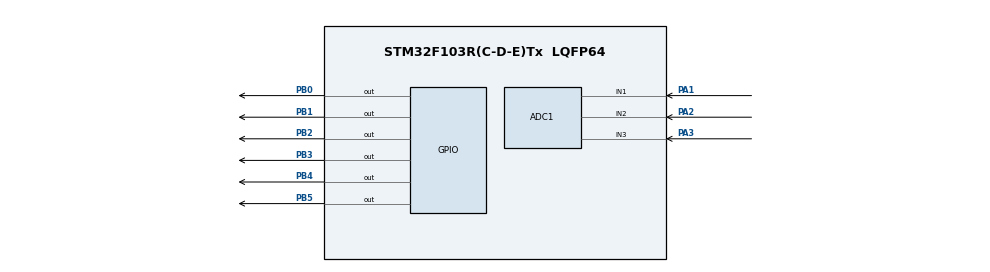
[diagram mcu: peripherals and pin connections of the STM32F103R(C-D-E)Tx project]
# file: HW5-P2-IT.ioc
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ADC1.Channel-3\#ChannelRegularConversion=ADC_CHANNEL_1
ADC1.EnableAnalogWatchDog=false
ADC1.NbrOfConversion=1
ADC1.NbrOfConversionFlag=1
ADC1.Rank-3\#ChannelRegularConversion=1
ADC1.SamplingTime-3\#ChannelRegularConversion=ADC_SAMPLETIME_239CYCLES_5
ADC1.master=1
Mcu.Family=STM32F1
Mcu.Name=STM32F103R(C-D-E)Tx
Mcu.Package=LQFP64
NVIC.ADC1_2_IRQn=true\:0\:0\:false\:false\:true\:true\:true\:true
NVIC.PriorityGroup=NVIC_PRIORITYGROUP_4
PA1.Signal=ADCx_IN1
PA13.Mode=Serial_Wire
PA13.Signal=SYS_JTMS-SWDIO
PA14.Mode=Serial_Wire
PA14.Signal=SYS_JTCK-SWCLK
PA2.Signal=ADCx_IN2
PA3.Signal=ADCx_IN3
PB0.Signal=GPIO_Output
PB1.Signal=GPIO_Output
PB2.Signal=GPIO_Output
PB3.Signal=GPIO_Output
PB4.Signal=GPIO_Output
PB5.Signal=GPIO_Output
PD0-OSC_IN.Mode=HSE-External-Oscillator
PD0-OSC_IN.Signal=RCC_OSC_IN
PD1-OSC_OUT.Mode=HSE-External-Oscillator
PD1-OSC_OUT.Signal=RCC_OSC_OUT
ProjectManager.HeapSize=0x200
ProjectManager.StackSize=0x400
ProjectManager.TargetToolchain=MDK-ARM V5.32
RCC.APB1Freq_Value=8000000
RCC.APB2Freq_Value=8000000
SH.ADCx_IN1.0=ADC1_IN1,IN1
SH.ADCx_IN2.0=ADC1_IN2,IN2
SH.ADCx_IN3.0=ADC1_IN3,IN3
board=custom

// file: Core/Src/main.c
/* USER CODE BEGIN Header */
/**
  ******************************************************************************
  * @file           : main.c
  * @brief          : Main program body
  ******************************************************************************
  * @attention
  *
  * Copyright (c) 2026 STMicroelectronics.
  * All rights reserved.
  *
  * This software is licensed under terms that can be found in the LICENSE file
  * in the root directory of this software component.
  * If no LICENSE file comes with this software, it is provided AS-IS.
  *
  ******************************************************************************
  */
/* USER CODE END Header */
#include "main.h"

/* USER CODE BEGIN Includes */
#include "lcd.h"
#include <stdio.h>
/* USER CODE END Includes */

/* USER CODE BEGIN PD */
#define ADC_SAMPLE_COUNT 50
/* USER CODE END PD */

ADC_HandleTypeDef hadc1;

/* USER CODE BEGIN PV */
Lcd_HandleTypeDef lcd;
char lcd_buffer[32];
volatile uint32_t adc_accumulator = 0;
volatile uint8_t  adc_sample_count = 0;
volatile uint8_t  adc_complete_flag = 0;

uint8_t current_channel_state = 1; // Tracks which channel we are currently reading (1, 2, or 3)

/* USER CODE END PV */

void SystemClock_Config(void);
static void MX_GPIO_Init(void);
static void MX_ADC1_Init(void);
/* USER CODE BEGIN PFP */
void Switch_ADC_Channel_IT(uint32_t target_channel);
/* USER CODE END PFP */

/* USER CODE BEGIN 0 */
void Switch_ADC_Channel_IT(uint32_t target_channel)
{
    ADC_ChannelConfTypeDef adc_config = {0};

    // 1. Reset the internal routing mux
    hadc1.Instance->SQR3 = 0;

    // 2. Configure the new active ADC channel
    adc_config.Channel = target_channel;
    adc_config.Rank = ADC_REGULAR_RANK_1;
    adc_config.SamplingTime = ADC_SAMPLETIME_239CYCLES_5;
    HAL_ADC_ConfigChannel(&hadc1, &adc_config);

    // Hardware stabilization delay
    HAL_Delay(5);

    // 3. PIPELINE FLUSH (Dummy Read for Proteus multiplexer)
    HAL_ADC_Start(&hadc1);
    HAL_ADC_PollForConversion(&hadc1, HAL_MAX_DELAY);
    HAL_ADC_GetValue(&hadc1);
    HAL_ADC_Stop(&hadc1);

    // 4. Reset our interrupt tracking variables for the new batch of 50
    adc_accumulator = 0;
    adc_sample_count = 0;
    adc_complete_flag = 0;

    // 5. Fire the very first interrupt to start the chain
    HAL_ADC_Start_IT(&hadc1);
}

void HAL_ADC_ConvCpltCallback(ADC_HandleTypeDef* hadc)
{
    if(hadc->Instance == ADC1)
    {
        // Add the new value to our running total
        adc_accumulator += HAL_ADC_GetValue(hadc);
        adc_sample_count++;

        if(adc_sample_count < ADC_SAMPLE_COUNT)
        {
            // If we haven't reached 50, start the ADC interrupt again
            HAL_ADC_Start_IT(hadc);
        }
        else
        {
            // If we hit 50, signal the main loop to do the math and display
            adc_complete_flag = 1;
        }
    }
}
/* USER CODE END 0 */

int main(void)
{

  /* MCU Configuration--------------------------------------------------------*/

  /* Reset of all peripherals, Initializes the Flash interface and the Systick. */
  HAL_Init();

  /* Configure the system clock */
  SystemClock_Config();

  /* Initialize all configured peripherals */
  MX_GPIO_Init();
  MX_ADC1_Init();
  /* USER CODE BEGIN 2 */
// 1. Initialize LCD
  Lcd_PortType ports[] = { GPIOB, GPIOB, GPIOB, GPIOB };
  Lcd_PinType pins[] = {GPIO_PIN_0, GPIO_PIN_1, GPIO_PIN_2, GPIO_PIN_3};
  lcd = Lcd_create(ports, pins, GPIOB, GPIO_PIN_4, GPIOB, GPIO_PIN_5, LCD_4_BIT_MODE);

  // 2. THE ANALOG OVERRIDE (Crucial for Proteus)
  GPIO_InitTypeDef GPIO_InitStruct = {0};
  GPIO_InitStruct.Pin = GPIO_PIN_1 | GPIO_PIN_2 | GPIO_PIN_3;
  GPIO_InitStruct.Mode = GPIO_MODE_ANALOG;
  GPIO_InitStruct.Pull = GPIO_NOPULL;
  HAL_GPIO_Init(GPIOA, &GPIO_InitStruct);

  // 3. Calibrate ADC
  HAL_ADCEx_Calibration_Start(&hadc1);

  // 4. Initialize State Machine by starting Channel 1
  current_channel_state = 1;
  Switch_ADC_Channel_IT(ADC_CHANNEL_1);
  /* USER CODE END 2 */

  /* Infinite loop */
  while (1)
  {

    /* USER CODE BEGIN 3 */
		if (adc_complete_flag == 1)
    {
        // 1. Calculate Averages
        uint16_t average_adc_value = adc_accumulator / ADC_SAMPLE_COUNT;
        uint32_t voltage_mv = (average_adc_value * 3300) / 4095;
        uint8_t display_volts = voltage_mv / 1000;
        uint8_t display_frac = (voltage_mv % 1000) / 10;

        // 2. Determine string labels based on current state
        char* channel_name;
        if      (current_channel_state == 1) channel_name = "CH1";
        else if (current_channel_state == 2) channel_name = "CH2";
        else if (current_channel_state == 3) channel_name = "CH3";

        // 3. Update LCD (Flicker-free technique)
        snprintf(lcd_buffer, sizeof(lcd_buffer), "%s Volt: %d.%02d V  ", channel_name, display_volts, display_frac);
        Lcd_cursor(&lcd, 0, 0);
        Lcd_string(&lcd, lcd_buffer);

        snprintf(lcd_buffer, sizeof(lcd_buffer), "%s Mean: %4u    ", channel_name, average_adc_value);
        Lcd_cursor(&lcd, 1, 0);
        Lcd_string(&lcd, lcd_buffer);

        // 4. Delay so the user can read the LCD
        HAL_Delay(1000);

        // 5. State Machine Transition: Switch to the next channel
        if (current_channel_state == 1)
        {
            current_channel_state = 2;
            Switch_ADC_Channel_IT(ADC_CHANNEL_2);
        }
        else if (current_channel_state == 2)
        {
            current_channel_state = 3;
            Switch_ADC_Channel_IT(ADC_CHANNEL_3);
        }
        else if (current_channel_state == 3)
        {
            current_channel_state = 1;
            Switch_ADC_Channel_IT(ADC_CHANNEL_1);
        }
    }
  }
  /* USER CODE END 3 */
}

void SystemClock_Config(void)
{
  RCC_OscInitTypeDef RCC_OscInitStruct = {0};
  RCC_ClkInitTypeDef RCC_ClkInitStruct = {0};
  RCC_PeriphCLKInitTypeDef PeriphClkInit = {0};

  /** Initializes the RCC Oscillators according to the specified parameters
  * in the RCC_OscInitTypeDef structure.
  */
  RCC_OscInitStruct.OscillatorType = RCC_OSCILLATORTYPE_HSI;
  RCC_OscInitStruct.HSIState = RCC_HSI_ON;
  RCC_OscInitStruct.HSICalibrationValue = RCC_HSICALIBRATION_DEFAULT;
  RCC_OscInitStruct.PLL.PLLState = RCC_PLL_NONE;
  if (HAL_RCC_OscConfig(&RCC_OscInitStruct) != HAL_OK)
  {
    Error_Handler();
  }

  /** Initializes the CPU, AHB and APB buses clocks
  */
  RCC_ClkInitStruct.ClockType = RCC_CLOCKTYPE_HCLK|RCC_CLOCKTYPE_SYSCLK
                              |RCC_CLOCKTYPE_PCLK1|RCC_CLOCKTYPE_PCLK2;
  RCC_ClkInitStruct.SYSCLKSource = RCC_SYSCLKSOURCE_HSI;
  RCC_ClkInitStruct.AHBCLKDivider = RCC_SYSCLK_DIV1;
  RCC_ClkInitStruct.APB1CLKDivider = RCC_HCLK_DIV1;
  RCC_ClkInitStruct.APB2CLKDivider = RCC_HCLK_DIV1;

  if (HAL_RCC_ClockConfig(&RCC_ClkInitStruct, FLASH_LATENCY_0) != HAL_OK)
  {
    Error_Handler();
  }
  PeriphClkInit.PeriphClockSelection = RCC_PERIPHCLK_ADC;
  PeriphClkInit.AdcClockSelection = RCC_ADCPCLK2_DIV2;
  if (HAL_RCCEx_PeriphCLKConfig(&PeriphClkInit) != HAL_OK)
  {
    Error_Handler();
  }
}

static void MX_ADC1_Init(void)
{

  ADC_ChannelConfTypeDef sConfig = {0};

  /** Common config
  */
  hadc1.Instance = ADC1;
  hadc1.Init.ScanConvMode = ADC_SCAN_DISABLE;
  hadc1.Init.ContinuousConvMode = DISABLE;
  hadc1.Init.DiscontinuousConvMode = DISABLE;
  hadc1.Init.ExternalTrigConv = ADC_SOFTWARE_START;
  hadc1.Init.DataAlign = ADC_DATAALIGN_RIGHT;
  hadc1.Init.NbrOfConversion = 1;
  if (HAL_ADC_Init(&hadc1) != HAL_OK)
  {
    Error_Handler();
  }

  /** Configure Regular Channel
  */
  sConfig.Channel = ADC_CHANNEL_1;
  sConfig.Rank = ADC_REGULAR_RANK_1;
  sConfig.SamplingTime = ADC_SAMPLETIME_239CYCLES_5;
  if (HAL_ADC_ConfigChannel(&hadc1, &sConfig) != HAL_OK)
  {
    Error_Handler();
  }

}

static void MX_GPIO_Init(void)
{
  GPIO_InitTypeDef GPIO_InitStruct = {0};

  /* GPIO Ports Clock Enable */
  __HAL_RCC_GPIOD_CLK_ENABLE();
  __HAL_RCC_GPIOA_CLK_ENABLE();
  __HAL_RCC_GPIOB_CLK_ENABLE();

  /*Configure GPIO pin Output Level */
  HAL_GPIO_WritePin(GPIOB, GPIO_PIN_0|GPIO_PIN_1|GPIO_PIN_2|GPIO_PIN_3
                          |GPIO_PIN_4|GPIO_PIN_5, GPIO_PIN_RESET);

  /*Configure GPIO pins : PB0 PB1 PB2 PB3
                           PB4 PB5 */
  GPIO_InitStruct.Pin = GPIO_PIN_0|GPIO_PIN_1|GPIO_PIN_2|GPIO_PIN_3
                          |GPIO_PIN_4|GPIO_PIN_5;
  GPIO_InitStruct.Mode = GPIO_MODE_OUTPUT_PP;
  GPIO_InitStruct.Pull = GPIO_NOPULL;
  GPIO_InitStruct.Speed = GPIO_SPEED_FREQ_LOW;
  HAL_GPIO_Init(GPIOB, &GPIO_InitStruct);

}

void Error_Handler(void)
{
  __disable_irq();
  while (1)
  {
  }
}
